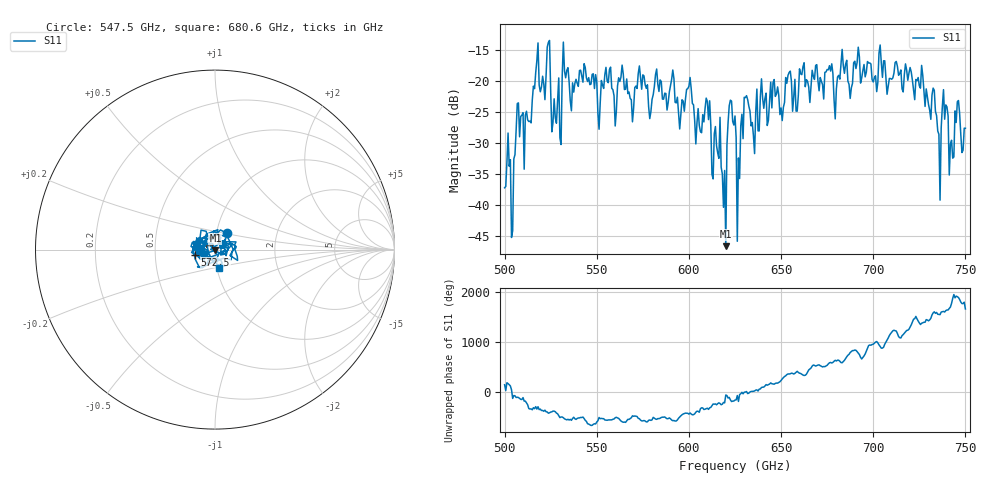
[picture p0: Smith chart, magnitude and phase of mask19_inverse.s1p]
!Created with skrf (http://scikit-rf.org).
# GHz S MA R 50.0
!freq magS11 angS11
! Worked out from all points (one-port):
!   401 points, 500 GHz to 750 GHz, reference 50 ohm
!   lowest |S11| = -46.6 dB at 620 GHz (marker M1), VSWR 1.01, Z = 50.3 - j0.393 ohm
!   |S11| at or under -10 dB: start of sweep to end of sweep
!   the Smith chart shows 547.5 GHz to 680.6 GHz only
!   S11 on the Smith chart (normalised r, x): 547.5 GHz: 1.12, +0.21; 572.5 GHz: 0.80, -0.05; 680.6 GHz: 1.02, -0.22
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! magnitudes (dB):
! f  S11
! 500 GHz  -37.2
! 504.4 GHz  -44.2
! 507.5 GHz  -23.6
! 511.9 GHz  -24.9
! 516.9 GHz  -18.7
! 523.8 GHz  -13.8
! 526.9 GHz  -22.9
! 531.2 GHz  -19.2
! 547.5 GHz  -19.0
! 562.5 GHz  -20.1
! 572.5 GHz  -18.8
! 593.8 GHz  -22.7
! 610 GHz  -23.3
! 620 GHz  -46.6
! 622.5 GHz  -23.1
! 625 GHz  -25.7
! 627.5 GHz  -35.7
! 631.2 GHz  -22.4
! 635 GHz  -28.9
! 656.2 GHz  -24.9
! 680.6 GHz  -19.4
! 687.5 GHz  -22.9
! 718.8 GHz  -19.9
! 735.6 GHz  -28.6
! 738.8 GHz  -26.2
! 742.5 GHz  -29.6
! 745.6 GHz  -23.4
! 750 GHz  -27.7
